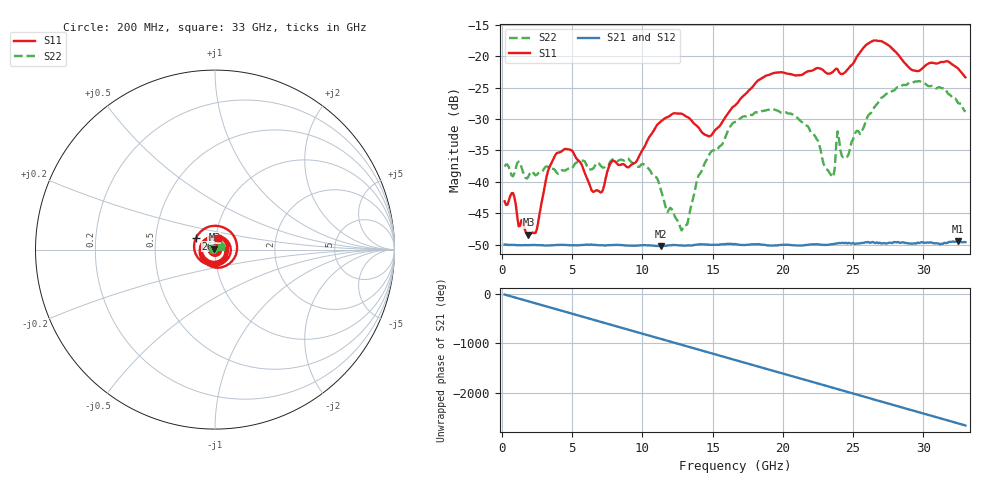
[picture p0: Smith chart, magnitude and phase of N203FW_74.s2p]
# GHZ S RI R 50
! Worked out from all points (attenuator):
!   329 points, 200 MHz to 33 GHz, reference 50 ohm
!   highest |S21| = -49.45 dB at 32.5 GHz (marker M1); lowest = -50.2 dB at 11.3 GHz (marker M2)
!   lowest |S11| = -48.4 dB at 1.9 GHz (marker M3), VSWR 1.01, Z = 49.7 + j0.213 ohm
!   |S11| at or under -10 dB: start of sweep to end of sweep
!   |S22| runs from -47.7 to -24.0 dB; largest |S21 - S12| = 8.7e-05
!   S11 on the Smith chart (normalised r, x): 200 MHz: 1.01, -0.00; 26 GHz: 0.80, +0.10; 33 GHz: 1.03, +0.14
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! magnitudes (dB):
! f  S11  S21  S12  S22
! 200 MHz  -43.1  -50.0  -49.9  -37.5
! 800 MHz  -41.8  -50.0  -50.0  -39.1
! 1.9 GHz  -48.4  -50.0  -50.0  -39.1
! 2.5 GHz  -47.5  -50.0  -50.0  -38.9
! 3.9 GHz  -35.5  -50.0  -50.0  -38.5
! 5.7 GHz  -37.3  -50.0  -50.0  -36.7
! 7.1 GHz  -41.7  -50.0  -50.0  -37.6
! 7.8 GHz  -36.9  -50.0  -50.0  -36.5
! 11.2 GHz  -30.6  -50.2  -50.2  -40.3
! 11.3 GHz  -30.4  -50.2  -50.2  -41.1
! 12.8 GHz  -29.2  -50.1  -50.1  -47.7
! 14.8 GHz  -32.7  -50.0  -50.0  -35.5
! 16.6 GHz  -27.9  -49.9  -49.9  -30.5
! 19.3 GHz  -22.7  -50.1  -50.1  -28.4
! 22.1 GHz  -22.3  -49.9  -49.9  -32.3
! 23.5 GHz  -22.6  -49.9  -49.8  -39.2
! 23.9 GHz  -22.1  -49.8  -49.8  -32.0
! 24.6 GHz  -22.2  -49.8  -49.7  -36.0
! 26 GHz  -18.1  -49.6  -49.6  -29.8
! 27.6 GHz  -18.4  -49.6  -49.7  -25.8
! 32.5 GHz  -22.0  -49.5  -49.4  -27.5
! 33 GHz  -23.4  -49.6  -49.6  -28.9
